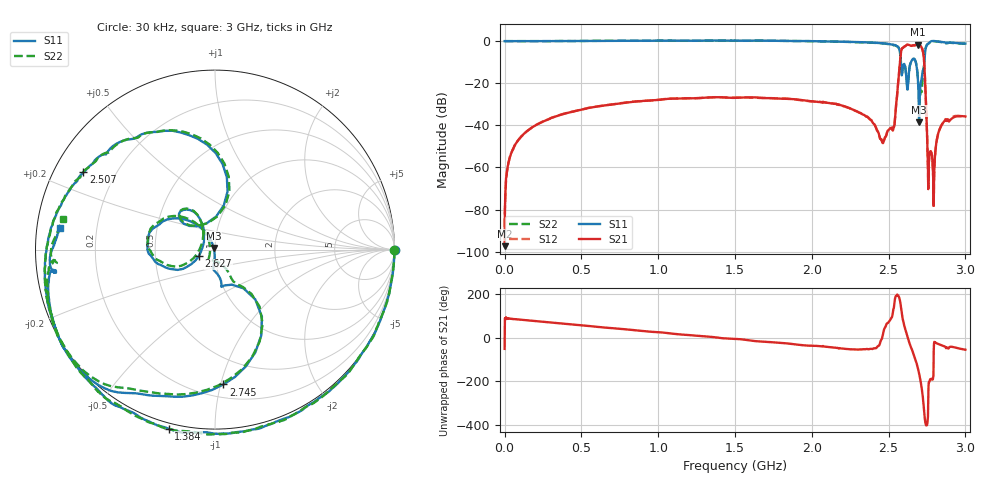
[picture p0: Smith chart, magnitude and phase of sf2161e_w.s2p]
!HP8753
# HZ S RI R 50
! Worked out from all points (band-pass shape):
!   1601 points, 30 kHz to 3 GHz, reference 50 ohm
!   highest |S21| = -1.62 dB at 2.691 GHz (marker M1); lowest = -97.4 dB at 30 kHz (marker M2)
!   |S21| within 3 dB of the highest: 2.582 GHz to 2.722 GHz (140.1 MHz wide, 5.28 % of centre)
!   lowest |S11| = -38.6 dB at 2.698 GHz (marker M3), VSWR 1.02, Z = 49.2 + j0.865 ohm
!   |S11| at or under -10 dB: 2.58 GHz to 2.646 GHz (65.67 MHz wide, 2.51 % of centre); 2.677 GHz to 2.733 GHz (55.82 MHz wide, 2.06 % of centre)
!   |S22| runs from -31.4 to 0.3 dB; largest |S21 - S12| = 0.015
!   S11 on the Smith chart (normalised r, x): 30 kHz: open; 1.384 GHz: -0.02, -0.77; 2.507 GHz: 0.09, +0.27; 2.627 GHz: 0.83, -0.06; 2.745 GHz: 0.29, -1.02; 3 GHz: 0.07, +0.07
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30000  1 -0.00226  8.6e-06 -1.04e-05  -9.9e-06 -3.74e-05  1 -0.00153
3.190468e7  0.9988 -0.0436  3.91e-05 0.00164  3.8e-05 0.00164  0.9984 -0.044
1.01279e8  0.9896 -0.1364  0.000553 0.00498  0.000516 0.00501  0.9886 -0.1382
5.0065e8  0.7848 -0.6298  0.0126 0.0199  0.0128 0.02  0.7754 -0.6415
1.00127e9  0.2396 -0.9984  0.0361 0.0176  0.0363 0.0176  0.2104 -1.003
1.383766e9  -0.2575 -0.999  0.0466 0.00133  0.0468 0.000988  -0.2938 -0.9907
1.50189e9  -0.402 -0.942  0.0449 -0.00374  0.0456 -0.00431  -0.4374 -0.929
2.000635e9  -0.8678 -0.4969  0.03 -0.0218  0.0304 -0.0213  -0.887 -0.4545
2.501255e9  -0.7555 0.4065  0.00227 0.00751  0.00229 0.00736  -0.7347 0.4322
2.50688e9  -0.7343 0.4303  0.00159 0.00811  0.00161 0.00797  -0.7104 0.4539
2.538755e9  -0.5833 0.5632  -0.0103 0.00269  -0.0102 0.00251  -0.5572 0.5783
2.578129e9  0.0661 0.4036  -0.4035 0.1973  -0.4093 0.1999  0.0764 0.4064
2.626879e9  -0.0902 -0.0361  0.82 -0.0748  0.8204 -0.0778  -0.0999 -0.0232
2.664378e9  -0.373 0.0492  0.1663 -0.7711  0.1635 -0.7828  -0.37 0.0749
2.690628e9  -0.0634 0.1086  -0.624 -0.5475  -0.6312 -0.5375  -0.0721 0.116
2.698128e9  -0.00779 0.00879  -0.7775 -0.2576  -0.7795 -0.2485  -0.0291 0.0225
2.724378e9  0.0349 -0.2056  0.109 0.5365  0.1127 0.5366  0.0899 -0.1578
2.745002e9  0.0471 -0.7511  0.0173 -0.0153  0.0171 -0.0154  0.0172 -0.7577
2.761878e9  -0.3821 -0.8097  -0.00118 0.000509  -0.00119 0.000565  -0.4161 -0.7859
2.788127e9  -0.7791 -0.6392  -0.000946 0.000172  -0.000906 0.000179  -0.8059 -0.5906
2.855626e9  -0.9287 -0.1896  0.00943 -0.00698  0.00971 -0.00681  -0.9309 -0.1326
3e9  -0.8651 0.1223  0.0095 -0.0132  0.00878 -0.0131  -0.8461 0.1707
